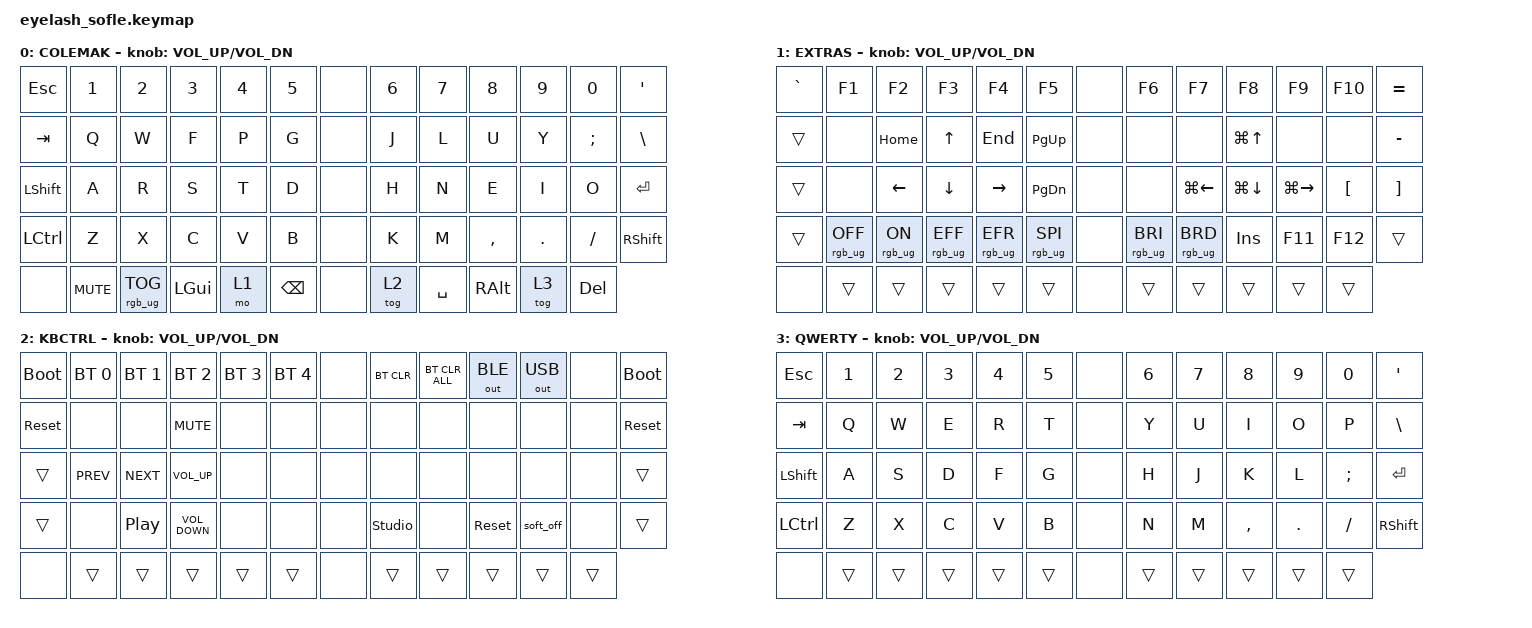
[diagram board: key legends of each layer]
#define ZMK_POINTING_DEFAULT_MOVE_VAL 1200  // 600
#define ZMK_POINTING_DEFAULT_SCRL_VAL 25   // 10

#include <input/processors.dtsi>
#include <zephyr/dt-bindings/input/input-event-codes.h>
#include <behaviors.dtsi>
#include <dt-bindings/zmk/bt.h>
#include <dt-bindings/zmk/keys.h>
#include <dt-bindings/zmk/outputs.h>
#include <dt-bindings/zmk/pointing.h>
#include <dt-bindings/zmk/rgb.h>

&mmv_input_listener { input-processors = <&zip_xy_scaler 2 1>; };

&msc_input_listener { input-processors = <&zip_scroll_scaler 2 1>; };

&msc {
    acceleration-exponent = <1>;      // 0
    time-to-max-speed-ms = <100>;       // 300
    delay-ms = <0>;                   // 0
};

&mmv {
    time-to-max-speed-ms = <500>;
    acceleration-exponent = <1>;
    trigger-period-ms = <16>;
};

/ {
    scroll_encoder: scroll_encoder {
        compatible = "zmk,behavior-sensor-rotate";
        #sensor-binding-cells = <0>;
        bindings = <&msc SCRL_DOWN>, <&msc SCRL_UP>;

        tap-ms = <100>;
    };

    behaviors {
    };

    keymap {
        compatible = "zmk,keymap";

        COLEMAK {
            bindings = <
&kp ESC           &kp N1      &kp N2           &kp N3        &kp N4  &kp N5           &none  &kp N6  &kp N7     &kp N8         &kp N9   &kp N0         &kp SQT
&kp TAB           &kp Q       &kp W            &kp F         &kp P   &kp G            &none  &kp J   &kp L      &kp U          &kp Y    &kp SEMICOLON  &kp BACKSLASH
&kp LEFT_SHIFT    &kp A       &kp R            &kp S         &kp T   &kp D            &none  &kp H   &kp N      &kp E          &kp I    &kp O          &kp ENTER
&kp LEFT_CONTROL  &kp Z       &kp X            &kp C         &kp V   &kp B            &none  &kp K   &kp M      &kp COMMA      &kp DOT  &kp FSLH       &kp RIGHT_SHIFT
&none             &kp K_MUTE  &rgb_ug RGB_TOG  &kp LEFT_GUI  &mo 1   &kp BACKSPACE    &none  &tog 2  &kp SPACE  &kp RIGHT_ALT  &tog 3   &kp DELETE
            >;
            sensor-bindings = <&inc_dec_kp C_VOLUME_UP C_VOL_DN>;
            display-name = "COLEMAK";
        };

        EXTRAS {
            bindings = <
&kp GRAVE  &kp F1           &kp F2          &kp F3           &kp F4           &kp F5             &none  &kp F6           &kp F7           &kp F8        &kp F9         &kp F10           &kp EQUAL
&trans     &none            &kp HOME        &kp UP_ARROW     &kp END          &kp PAGE_UP        &none  &none            &none            &kp LG(UP)    &none          &none             &kp MINUS
&trans     &none            &kp LEFT        &kp DOWN         &kp RIGHT        &kp PAGE_DOWN      &none  &none            &kp LG(LEFT)     &kp LG(DOWN)  &kp LG(RIGHT)  &kp LEFT_BRACKET  &kp RIGHT_BRACKET
&trans     &rgb_ug RGB_OFF  &rgb_ug RGB_ON  &rgb_ug RGB_EFF  &rgb_ug RGB_EFR  &rgb_ug RGB_SPI    &none  &rgb_ug RGB_BRI  &rgb_ug RGB_BRD  &kp INSERT    &kp F11        &kp F12           &trans
&none      &trans           &trans          &trans           &trans           &trans             &none  &trans           &trans           &trans        &trans         &trans
            >;
            sensor-bindings = <&inc_dec_kp C_VOLUME_UP C_VOL_DN>;
            display-name = "EXTRAS";
        };

        KBCTRL {
            bindings = <
&bootloader  &bt BT_SEL 0  &bt BT_SEL 1      &bt BT_SEL 2       &bt BT_SEL 3  &bt BT_SEL 4    &none  &bt BT_CLR      &bt BT_CLR_ALL  &out OUT_BLE  &out OUT_USB  &none   &bootloader
&sys_reset   &none         &none             &kp K_MUTE         &none         &none           &none  &none           &none           &none         &none         &none   &sys_reset
&trans       &kp C_PREV    &kp C_NEXT        &kp C_VOLUME_UP    &none         &none           &none  &none           &none           &none         &none         &none   &trans
&trans       &none         &kp C_PLAY_PAUSE  &kp C_VOLUME_DOWN  &none         &none           &none  &studio_unlock  &none           &sys_reset    &soft_off     &none   &trans
&none        &trans        &trans            &trans             &trans        &trans          &none  &trans          &trans          &trans        &trans        &trans
            >;
            sensor-bindings = <&inc_dec_kp C_VOLUME_UP C_VOL_DN>;
            display-name = "KBCTRL";
        };
        QWERTY {
            bindings = <
&kp ESC           &kp N1  &kp N2  &kp N3  &kp N4  &kp N5    &none  &kp N6  &kp N7  &kp N8     &kp N9   &kp N0    &kp SQT
&kp TAB           &kp Q   &kp W   &kp E   &kp R   &kp T     &none  &kp Y   &kp U   &kp I      &kp O    &kp P     &kp BACKSLASH
&kp LEFT_SHIFT    &kp A   &kp S   &kp D   &kp F   &kp G     &none  &kp H   &kp J   &kp K      &kp L    &kp SEMI  &kp ENTER
&kp LEFT_CONTROL  &kp Z   &kp X   &kp C   &kp V   &kp B     &none  &kp N   &kp M   &kp COMMA  &kp DOT  &kp FSLH  &kp RIGHT_SHIFT
&none             &trans  &trans  &trans  &trans  &trans    &none  &trans  &trans  &trans     &trans   &trans
            >;
            sensor-bindings = <&inc_dec_kp C_VOLUME_UP C_VOL_DN>;
            display-name = "QWERTY";
        };
    };
};
